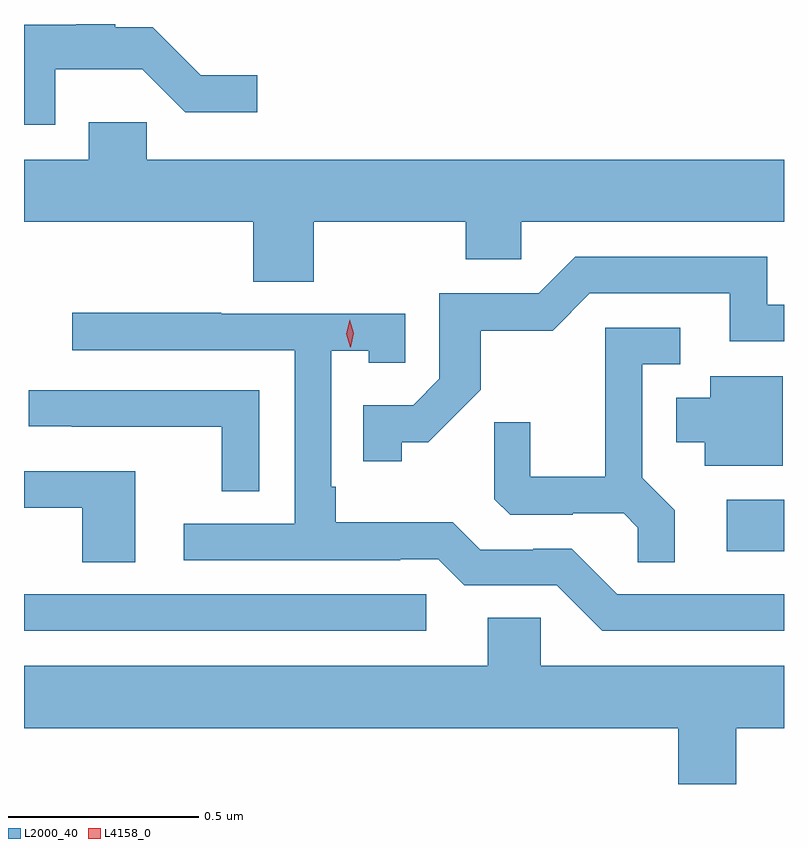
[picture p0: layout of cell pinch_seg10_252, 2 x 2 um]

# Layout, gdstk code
import gdstk
lib = gdstk.Library(unit=1e-6, precision=1e-09)
def R(c, l, rs):  # rectangles x0, y0, x1, y1
    for r in rs: c.add(gdstk.rectangle(r[:2], r[2:], *l))
def P(c, l, *ps):  # polygons
    for p in ps: c.add(gdstk.Polygon(p, *l))
L2000_40 = (2000, 40)
L4158_0 = (4158, 0)

pinch_seg10_252 = lib.new_cell('pinch_seg10_252')
R(pinch_seg10_252, L2000_40, [(612.86,1295.244,613.918,1295.34), (614.709,1295.453,614.86,1295.589)])
P(pinch_seg10_252, L2000_40, [(612.942,1296.722),(613.171,1296.722),(613.284,1296.609),(613.474,1296.609),(613.474,1296.706),(613.325,1296.706),(613.199,1296.832),(613.1,1296.832),(613.1,1296.841),(612.997,1296.841),(612.997,1296.839),(612.86,1296.839),(612.86,1296.576),(612.942,1296.576)],
  [(613.623,1296.32),(614.023,1296.32),(614.023,1296.222),(614.169,1296.222),(614.169,1296.32),(614.86,1296.32),(614.86,1296.484),(613.183,1296.484),(613.183,1296.582),(613.031,1296.582),(613.031,1296.484),(612.86,1296.484),(612.86,1296.32),(613.463,1296.32),(613.463,1296.163),(613.623,1296.163)],
  [(613.854,1295.741),(613.924,1295.741),(614.062,1295.878),(614.062,1296.034),(614.251,1296.034),(614.349,1296.132),(614.717,1296.132),(614.717,1296.006),(614.86,1296.006),(614.86,1296.102),(614.816,1296.102),(614.816,1296.228),(614.31,1296.228),(614.214,1296.132),(613.953,1296.132),(613.953,1295.907),(613.884,1295.838),(613.753,1295.838),(613.753,1295.691),(613.854,1295.691)],
  [(614.86,1295.34),(614.421,1295.34),(614.301,1295.46),(614.2,1295.46),(614.2,1295.457),(614.061,1295.457),(613.988,1295.53),(613.681,1295.53),(613.681,1295.623),(613.668,1295.623),(613.668,1295.981),(613.767,1295.981),(613.767,1295.949),(613.863,1295.949),(613.863,1296.078),(613.379,1296.078),(613.379,1296.081),(612.987,1296.081),(612.987,1295.982),(613.572,1295.982),(613.572,1295.526),(613.281,1295.526),(613.281,1295.43),(613.85,1295.43),(613.85,1295.433),(613.95,1295.433),(614.019,1295.364),(614.262,1295.364),(614.382,1295.244),(614.86,1295.244)],
  [(614.573,1295.561),(614.487,1295.647),(614.487,1295.946),(614.587,1295.946),(614.587,1296.042),(614.39,1296.042),(614.39,1295.65),(614.192,1295.65),(614.192,1295.793),(614.098,1295.793),(614.098,1295.591),(614.139,1295.55),(614.304,1295.55),(614.304,1295.553),(614.438,1295.553),(614.475,1295.516),(614.475,1295.425),(614.573,1295.425)],
  [(614.857,1295.914),(614.666,1295.914),(614.666,1295.857),(614.576,1295.857),(614.576,1295.741),(614.651,1295.741),(614.651,1295.678),(614.857,1295.678)],
  [(613.479,1295.877),(612.873,1295.877),(612.873,1295.782),(612.985,1295.782),(612.985,1295.781),(613.381,1295.781),(613.381,1295.611),(613.479,1295.611)],
  [(613.153,1295.664),(612.86,1295.664),(612.86,1295.568),(613.013,1295.568),(613.013,1295.425),(613.153,1295.425)],
  [(614.734,1294.988),(614.86,1294.988),(614.86,1295.152),(614.22,1295.152),(614.22,1295.279),(614.081,1295.279),(614.081,1295.152),(612.86,1295.152),(612.86,1294.988),(614.582,1294.988),(614.582,1294.841),(614.734,1294.841)])
P(pinch_seg10_252, L4158_0, [(613.719,1295.991),(613.708,1296.026),(613.717,1296.063),(613.717,1296.063),(613.717,1296.063),(613.728,1296.027),(613.72,1295.991),(613.72,1295.991)])

lib.write_gds('pinch_seg10_252.gds')
